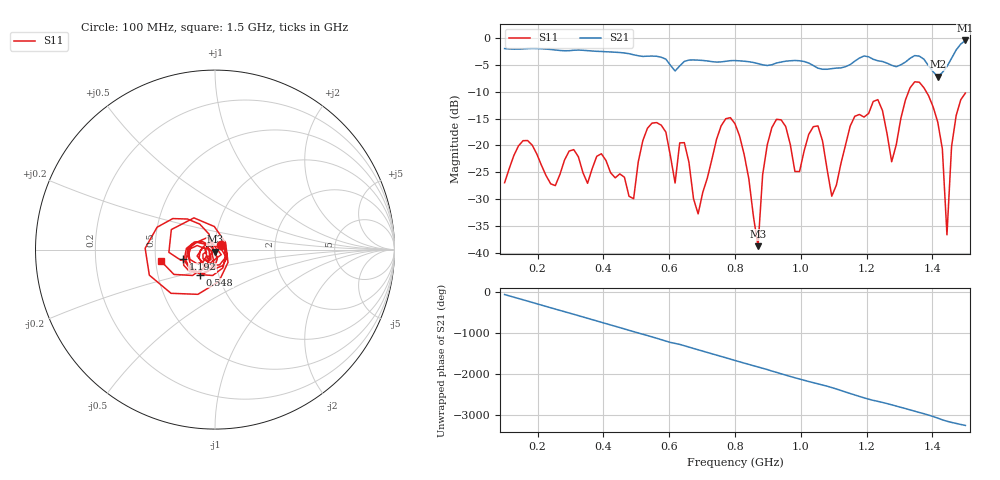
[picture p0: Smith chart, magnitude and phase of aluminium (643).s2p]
! NanoVNA-App
! Date: 2025-09-25 15:00:17
! Start: 100MHz Stop: 1,5GHz Points: 101
! S-Parameter data: F S11 S21 S12 S22
# Hz S RI R 50
!  Frequency  S11_Real  S11_Imag  S21_Real  S21_Imag  S12_Real  S12_Imag  S22_Real  S22_Imag
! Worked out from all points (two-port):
!   101 points, 100 MHz to 1.5 GHz, reference 50 ohm
!   highest |S21| = -0.40 dB at 1.5 GHz (marker M1); lowest = -7.2 dB at 1.416 GHz (marker M2)
!   |S21| within 3 dB of the highest: start of sweep to 565.7 MHz; 1.461 GHz to end of sweep (the widest 2 of 4)
!   lowest |S11| = -38.8 dB at 870 MHz (marker M3), VSWR 1.02, Z = 50.1 - j1.14 ohm
!   |S11| at or under -10 dB: start of sweep to 1.327 GHz; 1.381 GHz to end of sweep
!   S12 and S22 are empty: the file has one direction only
!   S11 on the Smith chart (normalised r, x): 100 MHz: 1.07, +0.06; 548 MHz: 0.82, -0.23; 1.192 GHz: 0.70, -0.08; 1.5 GHz: 0.53, -0.07
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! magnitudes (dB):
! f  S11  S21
! 100 MHz  -27.0  -1.9
! 156 MHz  -19.1  -2.0
! 338 MHz  -25.1  -2.2
! 492 MHz  -29.9  -3.1
! 548 MHz  -15.8  -3.3
! 576 MHz  -16.2  -3.5
! 646 MHz  -19.5  -4.3
! 688 MHz  -32.8  -4.1
! 800 MHz  -15.9  -4.1
! 870 MHz  -38.8  -4.7
! 912 MHz  -16.7  -4.9
! 996 MHz  -24.9  -4.2
! 1.038 GHz  -16.5  -5.1
! 1.094 GHz  -29.5  -5.7
! 1.192 GHz  -14.7  -3.3
! 1.234 GHz  -11.4  -4.2
! 1.276 GHz  -23.0  -5.0
! 1.346 GHz  -8.1  -3.2
! 1.416 GHz  -15.6  -7.2
! 1.444 GHz  -36.7  -5.3
! 1.458 GHz  -20.2  -3.7
! 1.5 GHz  -10.2  -0.4
